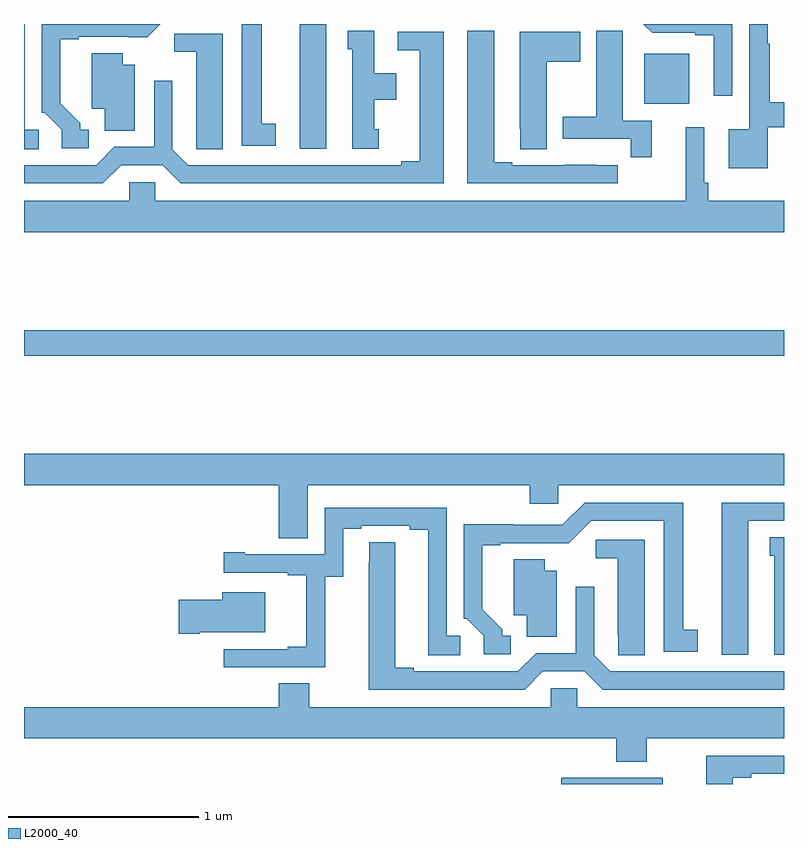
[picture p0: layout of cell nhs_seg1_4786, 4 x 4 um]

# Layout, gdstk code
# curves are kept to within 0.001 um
import gdstk
lib = gdstk.Library(unit=1e-6, precision=1e-09)
def R(c, l, rs):  # rectangles x0, y0, x1, y1
    for r in rs: c.add(gdstk.rectangle(r[:2], r[2:], *l))
def P(c, l, *ps):  # polygons
    for p in ps: c.add(gdstk.Polygon(p, *l))
L2000_40 = (2000, 40)

nhs_seg1_4786 = lib.new_cell('nhs_seg1_4786')
R(nhs_seg1_4786, L2000_40, [(373.827,510.199,374.361,510.231), (371,512.452,375,512.588), (372.452,513.543,372.592,514.199), (374.264,513.779,374.5,514.042)])
P(nhs_seg1_4786, L2000_40, [(372.325,513.674),(372.25,513.674),(372.25,514.199),(372.146,514.199),(372.146,513.558),(372.325,513.558)],
  [(371.341,513.642),(371.296,513.642),(371.296,513.677),(371.191,513.782),(371.191,514.119),(371.287,514.119),(371.287,514.131),(371.648,514.13),(371.717,514.199),(371.094,514.199),(371.094,513.732),(371.109,513.732),(371.199,513.642),(371.199,513.546),(371.341,513.546)],
  [(371.077,513.642),(371.004,513.642),(371.004,514.199),(371,514.199),(371,513.541),(371.077,513.541)],
  [(374.914,513.656),(375,513.656),(375,513.786),(374.926,513.786),(374.926,514.094),(374.914,514.094),(374.914,514.199),(374.817,514.199),(374.817,513.646),(374.708,513.646),(374.708,513.44),(374.914,513.44)],
  [(374.727,514.199),(374.26,514.199),(374.307,514.152),(374.534,514.152),(374.534,514.14),(374.63,514.14),(374.63,513.822),(374.727,513.822)],
  [(374.303,513.69),(374.152,513.69),(374.152,514.052),(374.151,514.052),(374.151,514.163),(374.012,514.163),(374.012,513.711),(373.835,513.711),(373.835,513.594),(374.194,513.594),(374.194,513.498),(374.303,513.498)],
  [(374.125,513.456),(374.012,513.456),(374.012,513.457),(373.846,513.457),(373.846,513.456),(373.57,513.456),(373.57,513.471),(373.474,513.471),(373.474,514.163),(373.334,514.163),(373.334,513.36),(374.125,513.36)],
  [(372.868,513.645),(372.844,513.645),(372.844,513.8),(372.958,513.8),(372.958,513.94),(372.844,513.94),(372.844,514.163),(372.704,514.163),(372.704,514.065),(372.728,514.065),(372.728,513.543),(372.868,513.543)],
  [(373.75,514),(373.927,514),(373.927,514.159),(373.61,514.159),(373.61,513.649),(373.611,513.649),(373.611,513.541),(373.75,513.541)],
  [(371.511,513.456),(371.729,513.456),(371.825,513.36),(373.21,513.36),(373.21,514.158),(372.966,514.158),(372.966,514.062),(373.082,514.062),(373.082,513.476),(372.986,513.476),(372.986,513.456),(371.865,513.456),(371.781,513.54),(371.781,513.901),(371.685,513.901),(371.685,513.552),(371.475,513.552),(371.379,513.456),(371,513.456),(371,513.36),(371.415,513.36)],
  [(372.046,514.149),(371.79,514.149),(371.79,514.052),(371.906,514.052),(371.906,513.649),(371.907,513.649),(371.907,513.541),(372.046,513.541)],
  [(371.584,513.985),(371.521,513.985),(371.521,514.046),(371.357,514.046),(371.357,513.752),(371.426,513.752),(371.426,513.637),(371.584,513.637)],
  [(375,513.268),(374.6,513.268),(374.6,513.364),(374.58,513.364),(374.58,513.655),(374.483,513.655),(374.483,513.268),(371.691,513.268),(371.691,513.366),(371.553,513.366),(371.553,513.268),(371,513.268),(371,513.104),(375,513.104)],
  [(372.493,511.772),(373.661,511.772),(373.661,511.674),(373.812,511.674),(373.812,511.772),(375,511.772),(375,511.936),(371,511.936),(371,511.772),(372.341,511.772),(372.341,511.492),(372.493,511.492)],
  [(373.561,510.978),(373.516,510.978),(373.516,511.013),(373.411,511.118),(373.411,511.455),(373.507,511.455),(373.507,511.467),(373.868,511.466),(373.986,511.584),(374.366,511.584),(374.366,510.894),(374.545,510.894),(374.545,511.01),(374.47,511.01),(374.47,511.68),(373.95,511.68),(373.833,511.563),(373.577,511.563),(373.577,511.565),(373.314,511.565),(373.314,511.068),(373.329,511.068),(373.419,510.978),(373.419,510.882),(373.561,510.882)],
  [(374.812,511.584),(375,511.584),(375,511.68),(374.672,511.68),(374.672,510.879),(374.812,510.879)],
  [(372.585,511.291),(372.679,511.291),(372.679,511.542),(372.775,511.542),(372.775,511.557),(373.031,511.557),(373.031,511.537),(373.127,511.537),(373.127,510.877),(373.297,510.877),(373.297,510.978),(373.224,510.978),(373.224,511.653),(372.582,511.653),(372.582,511.407),(372.163,511.407),(372.163,511.42),(372.051,511.42),(372.051,511.311),(372.389,511.311),(372.389,511.299),(372.485,511.299),(372.485,510.922),(372.389,510.922),(372.389,510.909),(372.051,510.909),(372.051,510.813),(372.585,510.813)],
  [(375,511.499),(374.924,511.499),(374.924,511.401),(374.948,511.401),(374.948,510.879),(375,510.879)],
  [(374.266,511.485),(374.01,511.485),(374.01,511.388),(374.126,511.388),(374.126,510.985),(374.127,510.985),(374.127,510.877),(374.266,510.877)],
  [(373.731,510.792),(373.949,510.792),(374.045,510.696),(375,510.696),(375,510.792),(374.085,510.792),(374.001,510.876),(374.001,511.237),(373.905,511.237),(373.905,510.888),(373.695,510.888),(373.599,510.792),(373.051,510.792),(373.051,510.812),(372.955,510.812),(372.955,511.472),(372.816,511.472),(372.815,510.696),(373.635,510.696)],
  [(373.804,511.321),(373.741,511.321),(373.741,511.382),(373.577,511.382),(373.577,511.088),(373.646,511.088),(373.646,510.973),(373.804,510.973)],
  [(371.926,510.998),(372.271,510.998),(372.271,511.207),(372.044,511.207),(372.044,511.169),(371.814,511.169),(371.814,510.991),(371.926,510.991)],
  [(374.277,510.44),(375,510.44),(375,510.604),(373.911,510.604),(373.911,510.702),(373.773,510.702),(373.773,510.604),(372.501,510.604),(372.501,510.728),(372.341,510.728),(372.341,510.604),(371,510.604),(371,510.44),(374.117,510.44),(374.117,510.316),(374.277,510.316)],
  [(374.731,510.232),(374.827,510.232),(374.827,510.252),(375,510.252),(375,510.348),(374.591,510.348),(374.591,510.199),(374.731,510.199)])

lib.write_gds('nhs_seg1_4786.gds')
